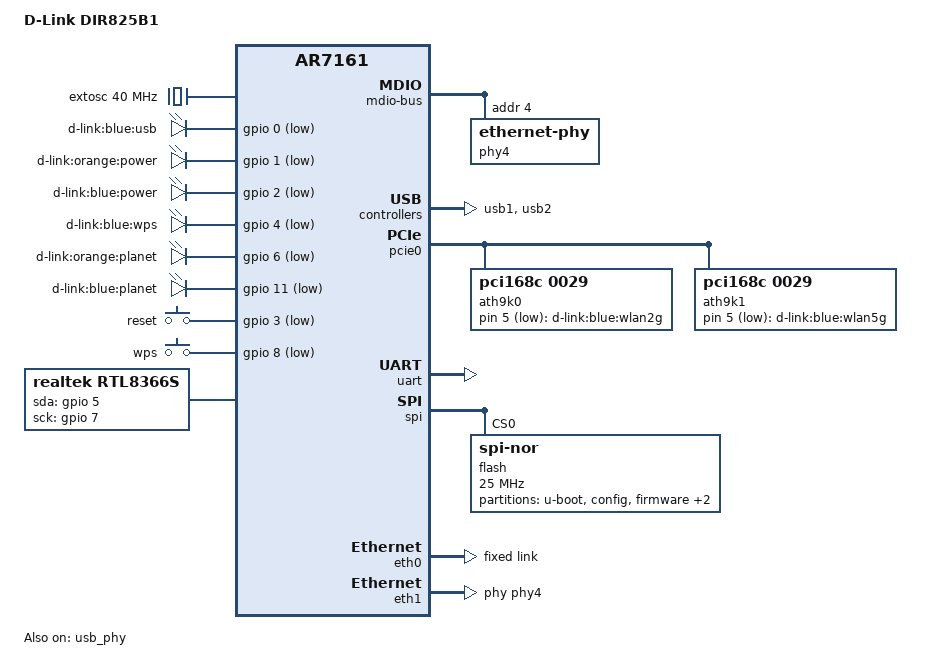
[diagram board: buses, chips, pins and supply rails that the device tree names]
// SPDX-License-Identifier: GPL-2.0-or-later OR MIT
/dts-v1/;

#include <dt-bindings/gpio/gpio.h>
#include <dt-bindings/input/input.h>

#include "ar7100.dtsi"

/ {
	compatible = "dlink,dir-825-b1", "qca,ar7161";
	model = "D-Link DIR825B1";

	aliases {
		led-boot = &orange_power;
		led-failsafe = &orange_power;
		led-running = &blue_power;
		led-upgrade = &orange_power;
	};

	chosen {
		bootargs = "console=ttyS0,115200";
	};

	extosc: ref {
		compatible = "fixed-clock";
		#clock-cells = <0>;
		clock-output-names = "ref";
		clock-frequency = <40000000>;
	};

	leds {
		compatible = "gpio-leds";
		blue_usb {
			label = "d-link:blue:usb";
			gpios = <&gpio 0 GPIO_ACTIVE_LOW>;
			trigger-sources = <&usb_ochi_port>, <&usb_echi_port>;
			linux,default-trigger = "usbport";
		};

		orange_power: orange_power {
			label = "d-link:orange:power";
			gpios = <&gpio 1 GPIO_ACTIVE_LOW>;
			default-state = "on";
		};

		blue_power: blue_power {
			label = "d-link:blue:power";
			gpios = <&gpio 2 GPIO_ACTIVE_LOW>;
		};

		blue_wps {
			label = "d-link:blue:wps";
			gpios = <&gpio 4 GPIO_ACTIVE_LOW>;
		};

		orange_planet {
			label = "d-link:orange:planet";
			gpios = <&gpio 6 GPIO_ACTIVE_LOW>;
		};

		blue_planet {
			label = "d-link:blue:planet";
			gpios = <&gpio 11 GPIO_ACTIVE_LOW>;
		};
	};

	ath9k-leds {
		compatible = "gpio-leds";

		wlan2g {
			label = "d-link:blue:wlan2g";
			gpios = <&ath9k0 5 GPIO_ACTIVE_LOW>;
			linux,default-trigger = "phy0tpt";
		};

		wlan5g {
			label = "d-link:blue:wlan5g";
			gpios = <&ath9k1 5 GPIO_ACTIVE_LOW>;
			linux,default-trigger = "phy1tpt";
		};
	};

	keys {
		compatible = "gpio-keys-polled";
		poll-interval = <20>;

		reset {
			label = "reset";
			linux,code = <KEY_RESTART>;
			gpios = <&gpio 3 GPIO_ACTIVE_LOW>;
			debounce-interval = <60>;
		};

		wps {
			label = "wps";
			linux,code = <KEY_WPS_BUTTON>;
			gpios = <&gpio 8 GPIO_ACTIVE_LOW>;
			debounce-interval = <60>;
		};
	};

	rtl8366s {
		compatible = "realtek,rtl8366s";
		gpio-sda = <&gpio 5 GPIO_ACTIVE_HIGH>;
		gpio-sck = <&gpio 7 GPIO_ACTIVE_HIGH>;
		realtek,initvals = <0x06 0x0108>;

		mdio-bus {
			#address-cells = <1>;
			#size-cells = <0>;
			status = "okay";

			phy-mask = <0x10>;

			phy4: ethernet-phy@4 {
				reg = <4>;
				phy-mode = "rgmii";
			};
		};
	};
};


&usb1 {
	#address-cells = <1>;
	#size-cells = <0>;
	status = "okay";

	usb_ochi_port: port@1 {
		reg = <1>;
		#trigger-source-cells = <0>;
	};
};

&usb2 {
	#address-cells = <1>;
	#size-cells = <0>;
	status = "okay";

	usb_echi_port: port@1 {
		reg = <1>;
		#trigger-source-cells = <0>;
	};
};

&usb_phy {
	status = "okay";
};

&pcie0 {
	status = "okay";

	ath9k0: wifi@0,11 {
		compatible = "pci168c,0029";
		reg = <0x8800 0 0 0 0>;
		qca,no-eeprom;
		#gpio-cells = <2>;
		gpio-controller;
	};

	ath9k1: wifi@0,12 {
		compatible = "pci168c,0029";
		reg = <0x9000 0 0 0 0>;
		qca,no-eeprom;
		#gpio-cells = <2>;
		gpio-controller;
	};
};

&uart {
	status = "okay";
};

&pll {
	clocks = <&extosc>;
};

&spi {
	status = "okay";
	num-cs = <1>;

	flash@0 {
		compatible = "jedec,spi-nor";
		reg = <0>;
		spi-max-frequency = <25000000>;

		partitions {
			compatible = "fixed-partitions";
			#address-cells = <1>;
			#size-cells = <1>;

			partition@0 {
				label = "u-boot";
				reg = <0x000000 0x040000>;
				read-only;
			};

			partition@40000 {
				label = "config";
				reg = <0x040000 0x010000>;
				read-only;
			};

			partition@50000 {
				compatible = "denx,uimage";
				label = "firmware";
				reg = <0x050000 0x610000>;
			};

			caldata: partition@60000 {
				label = "caldata";
				reg = <0x660000 0x010000>;
				read-only;
			};

			partition@670000 {
				label = "unknown";
				reg = <0x670000 0x190000>;
				read-only;
			};
		};
	};
};


&eth0 {
	status = "okay";
	pll-data = <0x11110000 0x00001099 0x00991099>;

	fixed-link {
		speed = <1000>;
		full-duplex;
	};
};

&eth1 {
	status = "okay";
	pll-data = <0x11110000 0x00001099 0x00991099>;

	phy-handle = <&phy4>;
};
